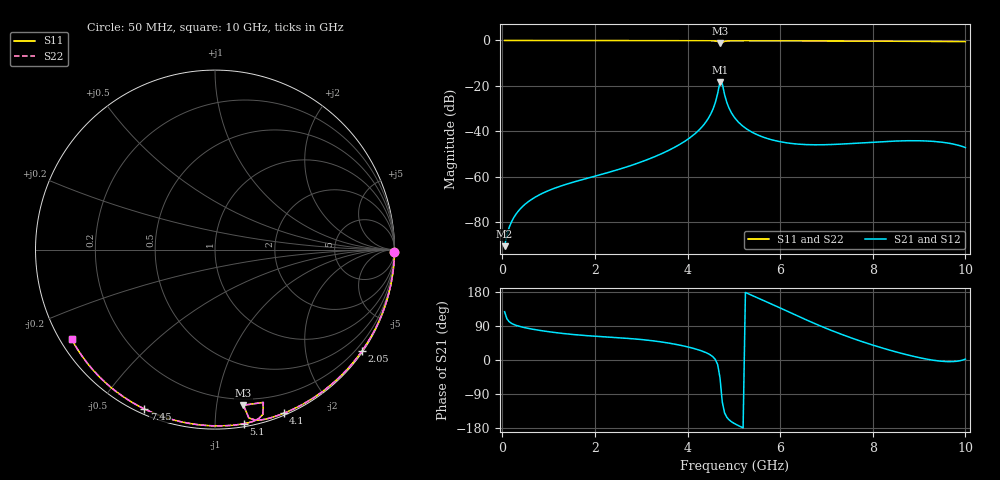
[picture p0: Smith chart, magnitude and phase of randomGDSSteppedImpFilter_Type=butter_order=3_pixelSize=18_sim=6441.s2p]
! freq	dB(S11)	phase(S11)	dB(S12)	phase(S12)
!  dB(S21)	phase(S21)	dB(S22)	phase(S22)
!S-par simulation data
#  GHz  S  DB  R 50
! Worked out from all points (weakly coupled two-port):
!   200 points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, 50 MHz to 10 GHz, reference 50 ohm
!   highest |S21| = -18.32 dB at 4.7 GHz (marker M1); lowest = -90.5 dB at 50 MHz (marker M2)
!   lowest |S11| = -1.1 dB at 4.7 GHz (marker M3), VSWR 15.85, Z = 7.65 - j59.4 ohm
!   |S11| at or under -10 dB: nowhere
!   |S22| runs from -1.1 to 0.0 dB; largest |S21 - S12| = 0
!   S11 on the Smith chart (normalised r, x): 50 MHz: open; 2.05 GHz: 0.03, -3.22; 4.1 GHz: 0.02, -1.50; 5.1 GHz: 0.02, -1.18; 7.45 GHz: 0.02, -0.65; 10 GHz: 0.03, -0.29
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0.05  -0.00 -0.9  -90.49 127.2  -90.49 127.2  -0.00 -0.9
0.2  -0.00 -3.4  -79.74 96.6  -79.74 96.6  -0.00 -3.4
0.4  -0.00 -6.9  -73.82 87.8  -73.82 87.8  -0.00 -6.9
0.75  -0.01 -12.8  -68.46 79.3  -68.46 79.3  -0.01 -12.8
1.75  -0.04 -29.6  -61.09 65.0  -61.09 65.0  -0.04 -29.6
2.05  -0.04 -34.5  -59.42 62.3  -59.42 62.3  -0.04 -34.5
3.4  -0.07 -56.2  -50.18 48.3  -50.18 48.3  -0.07 -56.2
4.1  -0.10 -67.3  -42.04 31.6  -42.04 31.6  -0.10 -67.3
4.5  -0.14 -74.2  -32.41 12.9  -32.41 12.9  -0.14 -74.2
4.6  -0.21 -76.7  -27.33 1.3  -27.33 1.3  -0.21 -76.7
4.7  -1.10 -79.6  -18.32 -46.3  -18.32 -46.3  -1.10 -79.6
4.75  -0.98 -72.5  -18.95 -110.3  -18.95 -110.3  -0.98 -72.5
4.8  -0.39 -73.8  -23.82 -139.7  -23.82 -139.7  -0.39 -73.8
4.9  -0.19 -76.9  -29.93 -158.2  -29.93 -158.2  -0.19 -76.9
5.05  -0.15 -79.8  -34.82 -170.2  -34.82 -170.2  -0.15 -79.8
5.1  -0.15 -80.7  -35.94 -173.3  -35.94 -173.3  -0.15 -80.7
5.75  -0.16 -90.5  -43.30 151.2  -43.30 151.2  -0.16 -90.5
6.7  -0.21 -103.8  -45.89 98.6  -45.89 98.6  -0.21 -103.8
7.45  -0.26 -114.0  -45.44 62.1  -45.44 62.1  -0.26 -114.0
8.35  -0.33 -125.9  -44.37 26.5  -44.37 26.5  -0.33 -125.9
9.3  -0.43 -138.5  -44.38 -0.5  -44.38 -0.5  -0.43 -138.5
10  -0.52 -147.9  -47.10 2.2  -47.10 2.2  -0.52 -147.9
